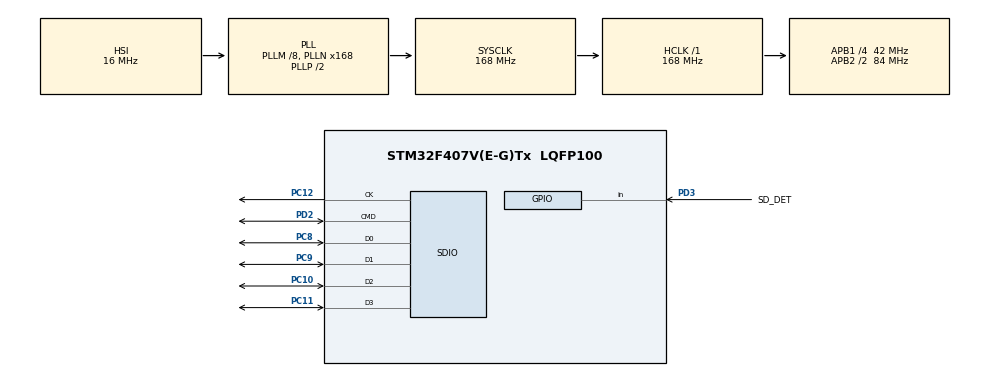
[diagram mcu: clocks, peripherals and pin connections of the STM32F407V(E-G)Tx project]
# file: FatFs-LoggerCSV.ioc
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Dma.Request0=SDIO_RX
Dma.Request1=SDIO_TX
Dma.SDIO_RX.0.Direction=DMA_PERIPH_TO_MEMORY
Dma.SDIO_RX.0.FIFOMode=DMA_FIFOMODE_ENABLE
Dma.SDIO_RX.0.FIFOThreshold=DMA_FIFO_THRESHOLD_FULL
Dma.SDIO_RX.0.Instance=DMA2_Stream3
Dma.SDIO_RX.0.MemBurst=DMA_MBURST_INC4
Dma.SDIO_RX.0.MemDataAlignment=DMA_MDATAALIGN_WORD
Dma.SDIO_RX.0.MemInc=DMA_MINC_ENABLE
Dma.SDIO_RX.0.Mode=DMA_PFCTRL
Dma.SDIO_RX.0.PeriphBurst=DMA_PBURST_INC4
Dma.SDIO_RX.0.PeriphDataAlignment=DMA_PDATAALIGN_WORD
Dma.SDIO_RX.0.PeriphInc=DMA_PINC_DISABLE
Dma.SDIO_RX.0.Priority=DMA_PRIORITY_LOW
Dma.SDIO_TX.1.Direction=DMA_MEMORY_TO_PERIPH
Dma.SDIO_TX.1.FIFOMode=DMA_FIFOMODE_ENABLE
Dma.SDIO_TX.1.FIFOThreshold=DMA_FIFO_THRESHOLD_FULL
Dma.SDIO_TX.1.Instance=DMA2_Stream6
Dma.SDIO_TX.1.MemBurst=DMA_MBURST_INC4
Dma.SDIO_TX.1.MemDataAlignment=DMA_MDATAALIGN_WORD
Dma.SDIO_TX.1.MemInc=DMA_MINC_ENABLE
Dma.SDIO_TX.1.Mode=DMA_PFCTRL
Dma.SDIO_TX.1.PeriphBurst=DMA_PBURST_INC4
Dma.SDIO_TX.1.PeriphDataAlignment=DMA_PDATAALIGN_WORD
Dma.SDIO_TX.1.PeriphInc=DMA_PINC_DISABLE
Dma.SDIO_TX.1.Priority=DMA_PRIORITY_LOW
FATFS.BSP.number=1
FATFS._CODE_PAGE=437
FATFS._USE_LFN=1
FATFS0.BSP.STBoard=false
FATFS0.BSP.api=Unknown
FATFS0.BSP.i2caddr=0
FATFS0.BSP.instance=PD3
FATFS0.BSP.ip=GPIO
FATFS0.BSP.mode=Input
FATFS0.BSP.name=Detect_SDIO
FATFS0.BSP.solution=PD3
Mcu.Family=STM32F4
Mcu.Name=STM32F407V(E-G)Tx
Mcu.Package=LQFP100
NVIC.DMA2_Stream3_IRQn=true\:0\:0\:false\:false\:true\:false\:true
NVIC.DMA2_Stream6_IRQn=true\:0\:0\:false\:false\:true\:false\:true
NVIC.PriorityGroup=NVIC_PRIORITYGROUP_4
NVIC.SDIO_IRQn=true\:0\:0\:false\:false\:true\:true\:true
PC10.Mode=SD_4_bits_Wide_bus
PC10.Signal=SDIO_D2
PC11.Mode=SD_4_bits_Wide_bus
PC11.Signal=SDIO_D3
PC12.Mode=SD_4_bits_Wide_bus
PC12.Signal=SDIO_CK
PC8.Mode=SD_4_bits_Wide_bus
PC8.Signal=SDIO_D0
PC9.Mode=SD_4_bits_Wide_bus
PC9.Signal=SDIO_D1
PD2.Mode=SD_4_bits_Wide_bus
PD2.Signal=SDIO_CMD
PD3.GPIO_Label=SD_DET
PD3.Signal=GPIO_Input
ProjectManager.HeapSize=0x200
ProjectManager.StackSize=0x400
ProjectManager.TargetToolchain=MDK-ARM V5.27
RCC.48MHZClocksFreq_Value=48000000
RCC.AHBFreq_Value=168000000
RCC.APB1CLKDivider=RCC_HCLK_DIV4
RCC.APB1Freq_Value=42000000
RCC.APB1TimFreq_Value=84000000
RCC.APB2CLKDivider=RCC_HCLK_DIV2
RCC.APB2Freq_Value=84000000
RCC.APB2TimFreq_Value=168000000
RCC.CortexFreq_Value=168000000
RCC.HCLKFreq_Value=168000000
RCC.HSE_VALUE=25000000
RCC.HSI_VALUE=16000000
RCC.LSE_VALUE=32768
RCC.PLLM=8
RCC.PLLN=168
RCC.PLLQ=7
RCC.SYSCLKFreq_VALUE=168000000
RCC.SYSCLKSource=RCC_SYSCLKSOURCE_PLLCLK
RCC.VCOOutputFreq_Value=336000000
SDIO.ClockDiv=6
VP_FATFS_VS_SDIO.Mode=SDIO
board=custom

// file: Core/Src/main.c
/* USER CODE BEGIN Header */
/**
  ******************************************************************************
  * @file           : main.c
  * @brief          : Main program body
  ******************************************************************************
  * @attention
  *
  * <h2><center>&copy; Copyright (c) 2024 STMicroelectronics.
  * All rights reserved.</center></h2>
  *
  * This software component is licensed by ST under Ultimate Liberty license
  * SLA0044, the "License"; You may not use this file except in compliance with
  * the License. You may obtain a copy of the License at:
  *                             www.st.com/SLA0044
  *
  ******************************************************************************
  */
/* USER CODE END Header */
#include "main.h"
#include "dma.h"
#include "fatfs.h"
#include "sdio.h"
#include "gpio.h"

/* USER CODE BEGIN Includes */
#include <stdio.h>
/* USER CODE END Includes */

/* USER CODE BEGIN PV */
static const char LOGGER_FILE_PATH[]  = "0:/log-%02u%02u%02u-%02u%02u.csv";
/* USER CODE END PV */

void SystemClock_Config(void);
/* USER CODE BEGIN PFP */
char* Logger_getFilePath(char* filePath, uint32_t filePathLen);

void Logger_init(void);

void Logger_addRecord(uint32_t idx, uint32_t timestamp, float value);

/* USER CODE END PFP */

int main(void)
{
  /* USER CODE BEGIN 1 */
  float value = 0.1f;
  uint32_t idx = 0;
  /* USER CODE END 1 */

  /* MCU Configuration--------------------------------------------------------*/

  /* Reset of all peripherals, Initializes the Flash interface and the Systick. */
  HAL_Init();

  /* Configure the system clock */
  SystemClock_Config();

  /* Initialize all configured peripherals */
  MX_GPIO_Init();
  MX_DMA_Init();
  MX_SDIO_SD_Init();
  MX_FATFS_Init();
  /* USER CODE BEGIN 2 */

  if (f_mount(&SDFatFS, SDPath, 0) != FR_OK) {
    Error_Handler();
  }

  Logger_init();

  /* USER CODE END 2 */

  /* Infinite loop */
  /* USER CODE BEGIN WHILE */
  while (1)
  {
    Logger_addRecord(++idx, HAL_GetTick(), value);
    value += 0.245f;
    HAL_Delay(1000);
    /* USER CODE END WHILE */

  }
}

void SystemClock_Config(void)
{
  RCC_OscInitTypeDef RCC_OscInitStruct = {0};
  RCC_ClkInitTypeDef RCC_ClkInitStruct = {0};

  /** Configure the main internal regulator output voltage
  */
  __HAL_RCC_PWR_CLK_ENABLE();
  __HAL_PWR_VOLTAGESCALING_CONFIG(PWR_REGULATOR_VOLTAGE_SCALE1);
  /** Initializes the RCC Oscillators according to the specified parameters
  * in the RCC_OscInitTypeDef structure.
  */
  RCC_OscInitStruct.OscillatorType = RCC_OSCILLATORTYPE_HSI;
  RCC_OscInitStruct.HSIState = RCC_HSI_ON;
  RCC_OscInitStruct.HSICalibrationValue = RCC_HSICALIBRATION_DEFAULT;
  RCC_OscInitStruct.PLL.PLLState = RCC_PLL_ON;
  RCC_OscInitStruct.PLL.PLLSource = RCC_PLLSOURCE_HSI;
  RCC_OscInitStruct.PLL.PLLM = 8;
  RCC_OscInitStruct.PLL.PLLN = 168;
  RCC_OscInitStruct.PLL.PLLP = RCC_PLLP_DIV2;
  RCC_OscInitStruct.PLL.PLLQ = 7;
  if (HAL_RCC_OscConfig(&RCC_OscInitStruct) != HAL_OK)
  {
    Error_Handler();
  }
  /** Initializes the CPU, AHB and APB buses clocks
  */
  RCC_ClkInitStruct.ClockType = RCC_CLOCKTYPE_HCLK|RCC_CLOCKTYPE_SYSCLK
                              |RCC_CLOCKTYPE_PCLK1|RCC_CLOCKTYPE_PCLK2;
  RCC_ClkInitStruct.SYSCLKSource = RCC_SYSCLKSOURCE_PLLCLK;
  RCC_ClkInitStruct.AHBCLKDivider = RCC_SYSCLK_DIV1;
  RCC_ClkInitStruct.APB1CLKDivider = RCC_HCLK_DIV4;
  RCC_ClkInitStruct.APB2CLKDivider = RCC_HCLK_DIV2;

  if (HAL_RCC_ClockConfig(&RCC_ClkInitStruct, FLASH_LATENCY_5) != HAL_OK)
  {
    Error_Handler();
  }
}

/* USER CODE BEGIN 4 */
char* Logger_getFilePath(char* filePath, uint32_t filePathLen) {
  // Read DateTime
  uint8_t year = 24;
  uint8_t month = 8;
  uint8_t day = 7;
  uint8_t hours = 22;
  uint8_t minutes = 38;
  // Generate filePath
  snprintf(filePath, filePathLen - 1, LOGGER_FILE_PATH,
      year, month, day,hours, minutes
  );

  return filePath;
}

void Logger_init(void) {
  char filePath[32];
  if (f_open(&SDFile, Logger_getFilePath(filePath, sizeof(filePath)), FA_CREATE_NEW | FA_WRITE) == FR_OK) {
    // Write Header
    f_puts("idx,timestamp,value\n", &SDFile);
    f_close(&SDFile);
  }
}

void Logger_addRecord(uint32_t idx, uint32_t timestamp, float value) {
  char filePath[32];
  if (f_open(&SDFile, Logger_getFilePath(filePath, sizeof(filePath)), FA_OPEN_APPEND | FA_WRITE) == FR_OK) {
    char buf[128];
    uint32_t len = snprintf(buf, sizeof(buf) - 1, "%u,%u,%g\n", idx, timestamp, value);
    uint32_t writeBytes;

    f_write(&SDFile, buf, len, &writeBytes);
    while (writeBytes < len);

    f_close(&SDFile);
  }
}
/* USER CODE END 4 */

void Error_Handler(void)
{
  __disable_irq();
  while (1)
  {
  }
}

/************************ (C) COPYRIGHT STMicroelectronics *****END OF FILE****/
